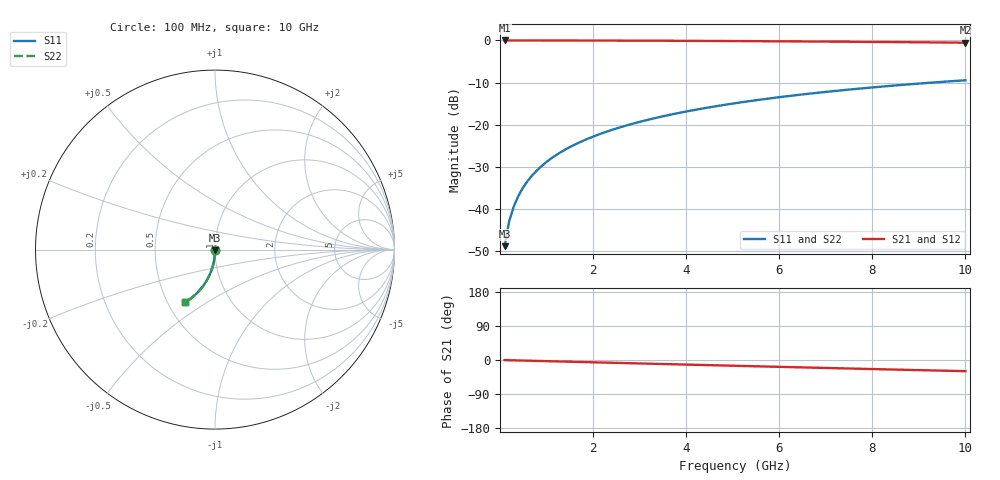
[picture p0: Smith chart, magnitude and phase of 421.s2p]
# Hz S RI R 50.00
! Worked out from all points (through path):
!   100 points, 100 MHz to 10 GHz, reference 50 ohm
!   highest |S21| = 0.00 dB at 100 MHz (marker M1); lowest = -0.5 dB at 10 GHz (marker M2)
!   group delay of S21, straight-line fit = 8.23 ps
!   lowest |S11| = -48.8 dB at 100 MHz (marker M3), VSWR 1.01, Z = 50 - j0.363 ohm
!   |S11| at or under -10 dB: start of sweep to 9.281 GHz
!   |S22| runs from -48.8 to -9.4 dB; largest |S21 - S12| = 0
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1e8  0.000259 -0.00362  0.9997 -0.00529  0.9997 -0.00529  0.000259 -0.00362
2e8  0.000199 -0.00725  0.9996 -0.0106  0.9996 -0.0106  0.000199 -0.00725
3e8  0.0001 -0.0109  0.9995 -0.0159  0.9995 -0.0159  0.0001 -0.0109
4e8  -3.71e-05 -0.0145  0.9994 -0.0212  0.9994 -0.0212  -3.71e-05 -0.0145
5e8  -0.000213 -0.0181  0.9992 -0.0265  0.9992 -0.0265  -0.000213 -0.0181
6e8  -0.000427 -0.0217  0.9989 -0.0317  0.9989 -0.0317  -0.000427 -0.0217
7e8  -0.00068 -0.0253  0.9987 -0.037  0.9987 -0.037  -0.00068 -0.0253
8e8  -0.000971 -0.029  0.9984 -0.0423  0.9984 -0.0423  -0.000971 -0.029
9e8  -0.0013 -0.0326  0.998 -0.0476  0.998 -0.0476  -0.0013 -0.0326
1.1e9  -0.00207 -0.0398  0.9972 -0.0581  0.9972 -0.0581  -0.00207 -0.0398
1.4e9  -0.00352 -0.0506  0.9956 -0.0739  0.9956 -0.0739  -0.00352 -0.0506
1.8e9  -0.00598 -0.0648  0.993 -0.0949  0.993 -0.0949  -0.00598 -0.0648
2.1e9  -0.00822 -0.0755  0.9906 -0.1106  0.9906 -0.1106  -0.00822 -0.0755
2.5e9  -0.0117 -0.0895  0.9868 -0.1313  0.9868 -0.1313  -0.0117 -0.0895
2.9e9  -0.0158 -0.1034  0.9824 -0.1519  0.9824 -0.1519  -0.0158 -0.1034
3.4e9  -0.0217 -0.1204  0.976 -0.1774  0.976 -0.1774  -0.0217 -0.1204
4.2e9  -0.033 -0.1469  0.9639 -0.2173  0.9639 -0.2173  -0.033 -0.1469
5.1e9  -0.0481 -0.1752  0.9475 -0.2609  0.9475 -0.2609  -0.0481 -0.1752
5.9e9  -0.0637 -0.1989  0.9308 -0.2982  0.9308 -0.2982  -0.0637 -0.1989
6.7e9  -0.0809 -0.2211  0.912 -0.334  0.912 -0.334  -0.0809 -0.2211
8.4e9  -0.1225 -0.2624  0.8667 -0.4046  0.8667 -0.4046  -0.1225 -0.2624
1e10  -0.1662 -0.2934  0.8185 -0.4635  0.8185 -0.4635  -0.1662 -0.2934
